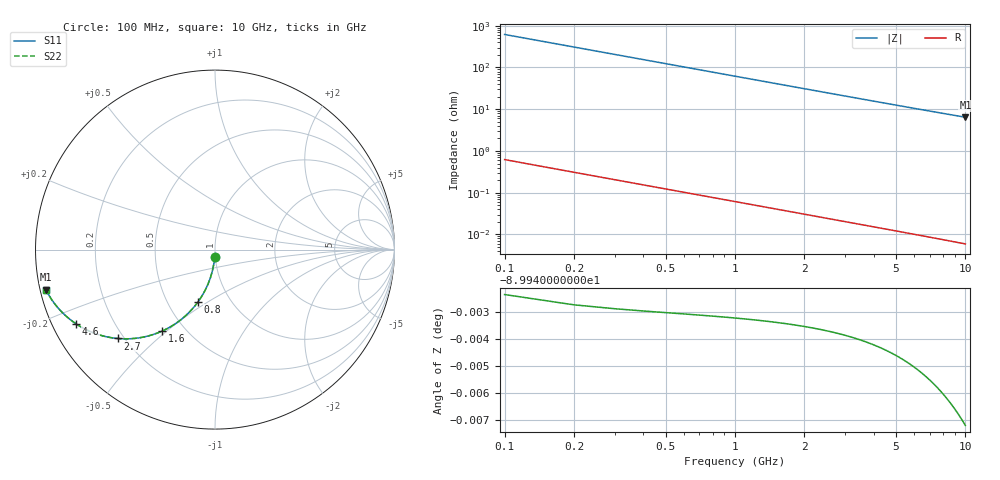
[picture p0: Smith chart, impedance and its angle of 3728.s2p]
# Hz S RI R 50.00
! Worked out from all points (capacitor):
!   100 points, 100 MHz to 10 GHz, reference 50 ohm
!   read as one part in shunt: C = 2.58 pF near 100 MHz
!   lowest |Z| = 6.43 ohm at 10 GHz (marker M1)
!   S11 on the Smith chart (normalised r, x): 100 MHz: 0.99, -0.08; 800 MHz: 0.71, -0.45; 1.6 GHz: 0.38, -0.48; 2.7 GHz: 0.18, -0.38; 4.6 GHz: 0.07, -0.25; 10 GHz: 0.02, -0.12
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1e8  -0.00166 -0.0403  0.9983 -0.0405  0.9983 -0.0405  -0.00166 -0.0403
2e8  -0.00657 -0.0802  0.9934 -0.0806  0.9934 -0.0806  -0.00657 -0.0802
3e8  -0.0146 -0.1194  0.9853 -0.1199  0.9853 -0.1199  -0.0146 -0.1194
4e8  -0.0257 -0.1573  0.9743 -0.158  0.9743 -0.158  -0.0257 -0.1573
5e8  -0.0395 -0.1938  0.9605 -0.1947  0.9605 -0.1947  -0.0395 -0.1938
6e8  -0.0558 -0.2286  0.9441 -0.2297  0.9441 -0.2297  -0.0558 -0.2286
8e8  -0.095 -0.292  0.905 -0.2934  0.905 -0.2934  -0.095 -0.292
1e9  -0.1408 -0.3464  0.8592 -0.3482  0.8592 -0.3482  -0.1408 -0.3464
1.2e9  -0.1907 -0.3913  0.8093 -0.3934  0.8093 -0.3934  -0.1907 -0.3913
1.4e9  -0.2427 -0.427  0.7573 -0.4294  0.7573 -0.4294  -0.2427 -0.427
1.6e9  -0.2949 -0.4541  0.7051 -0.4569  0.7051 -0.4569  -0.2949 -0.4541
1.8e9  -0.3459 -0.4736  0.6541 -0.4767  0.6541 -0.4767  -0.3459 -0.4736
2.2e9  -0.4409 -0.494  0.5591 -0.4979  0.5591 -0.4979  -0.4409 -0.494
2.7e9  -0.5424 -0.4953  0.4575 -0.5001  0.4575 -0.5001  -0.5424 -0.4953
3.4e9  -0.6522 -0.4727  0.3477 -0.4788  0.3477 -0.4788  -0.6522 -0.4727
4e9  -0.7216 -0.4441  0.2784 -0.4513  0.2784 -0.4513  -0.7216 -0.4441
4.6e9  -0.7739 -0.4137  0.2261 -0.4219  0.2261 -0.4219  -0.7739 -0.4137
5.1e9  -0.8078 -0.3889  0.1921 -0.3981  0.1921 -0.3981  -0.8078 -0.3889
5.8e9  -0.8445 -0.3566  0.1554 -0.3671  0.1554 -0.3671  -0.8445 -0.3566
6.7e9  -0.8787 -0.3198  0.1212 -0.332  0.1212 -0.332  -0.8787 -0.3198
8.4e9  -0.9193 -0.264  0.0805 -0.2795  0.0805 -0.2795  -0.9193 -0.264
1e10  -0.9418 -0.2241  0.058 -0.2427  0.058 -0.2427  -0.9418 -0.2241
